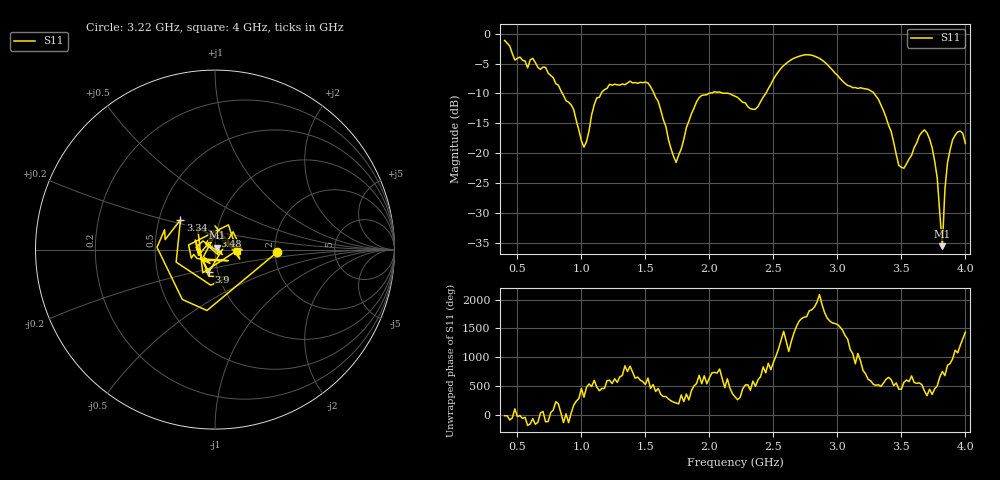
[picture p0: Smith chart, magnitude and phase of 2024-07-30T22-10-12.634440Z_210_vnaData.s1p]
!Created with skrf (http://scikit-rf.org).
# Hz S RI R 50.0
!freq ReS11 ImS11
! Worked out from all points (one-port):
!   181 points, 400 MHz to 4 GHz, reference 50 ohm
!   lowest |S11| = -35.5 dB at 3.82 GHz (marker M1), VSWR 1.03, Z = 51.3 + j1.06 ohm
!   |S11| at or under -10 dB: 851.3 MHz to 1.155 GHz (303.5 MHz wide, 30.3 % of centre); 1.567 GHz to 1.996 GHz (428.8 MHz wide, 24.1 % of centre); 3.287 GHz to end of sweep (the widest 3 of 4)
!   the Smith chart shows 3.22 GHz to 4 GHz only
!   S11 on the Smith chart (normalised r, x): 3.22 GHz: 2.05, -0.07; 3.34 GHz: 0.65, +0.23; 3.48 GHz: 0.99, +0.16; 3.9 GHz: 0.91, -0.23; 4 GHz: 1.27, -0.02
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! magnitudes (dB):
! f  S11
! 400 MHz  -1.1
! 480 MHz  -4.4
! 720 MHz  -5.6
! 860 MHz  -10.3
! 940 MHz  -12.7
! 1.02 GHz  -19.0
! 1.12 GHz  -10.7
! 1.3 GHz  -8.6
! 1.52 GHz  -8.2
! 1.74 GHz  -21.5
! 1.76 GHz  -20.3
! 1.92 GHz  -10.7
! 2.2 GHz  -10.5
! 2.36 GHz  -12.6
! 2.66 GHz  -4.1
! 2.86 GHz  -4.1
! 3.1 GHz  -8.8
! 3.22 GHz  -9.2
! 3.34 GHz  -11.9
! 3.48 GHz  -22.0
! 3.56 GHz  -21.0
! 3.66 GHz  -16.5
! 3.72 GHz  -17.6
! 3.78 GHz  -24.2
! 3.82 GHz  -35.5
! 3.84 GHz  -26.0
! 3.9 GHz  -17.8
! 4 GHz  -18.4
